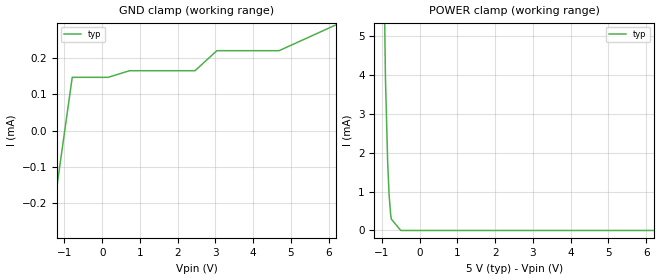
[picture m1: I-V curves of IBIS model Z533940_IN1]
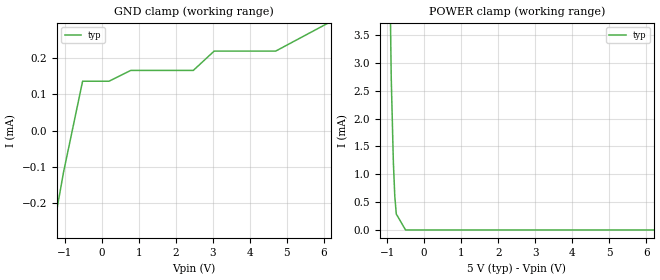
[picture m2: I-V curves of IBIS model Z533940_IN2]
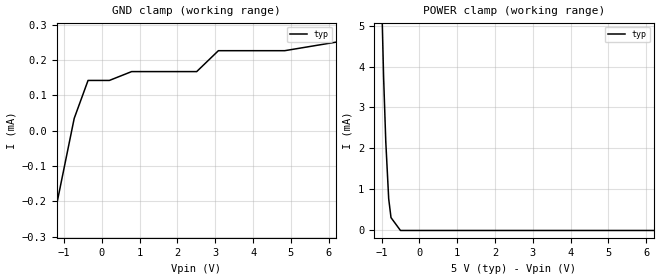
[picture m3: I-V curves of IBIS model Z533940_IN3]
| YOU ARE ONLY AUTHORIZED TO USE THIS SOFTWARE
| ACCORDING TO LICENSOR'S LICENSE RESTRICTIONS.
[IBIS Ver] 3.1
[File Name] mc14544bd.ibs
[File Rev] 2.0
[Source] Measured and created by ICX Technology
[Date] Friday 7/14/00 9:07:57 AM
[Copyright]
| (C) COPYRIGHT 1993-2000
| MENTOR GRAPHICS CORPORATION
| ICX STANDARD LIBRARY, ICX PROJECT MODELING,
| ICX CUSTOM MODELING, ICX VENDOR MODEL
| ALL RIGHTS RESERVED.
| THE FOLLOWING ARE TRADEMARKS OR SERVICE MARKS OF
| MENTOR GRAPHICS CORPORATION:ICX (R), ICX STANDARD
| LIBRARY(R), ICX PROJECT MODELING(R), ICX CUSTOM
| MODELING(R), qualityIBIS(TM), MODELVIEWER(TM),
| AND MODELEDITOR(TM)
| ALL COPIES OF SOFTWARE, INCLUDING BUT NOT LIMITED TO
| ANY MODIFICATIONS, ENHANCEMENTS OR DERIVATIVE WORKS,
| MUST CONTAIN ALL MENTOR GRAPHICS CORPORATION'S
| NOTICES AND LEGENDS, INCLUDING THOSE EMBEDDED IN
| SOFTWARE AND THOSE AFFIXED TO SOFTWARE MEDIUM
| AND CONTAINER, AS RECEIVED FROM MENTOR GRAPHICS
| CORPORATION.
|  ZAP Model Builder 2.7
[Component] MC14544BD
[Manufacturer] OnSemiconductor
[Package]
| variable   typ   min   max
R_pkg  .159ohms NA NA
L_pkg  3.465nH NA NA
C_pkg  .403pF NA NA
[Pin] signal_name  model_name  R_pin  L_pin C_pin
1 LD Z533940_IN1 .166 4.249n .439p
2 C Z533940_IN1 .162 3.799n .419p
3 B Z533940_IN1 .158 3.359n .399p
4 D Z533940_IN1 .154 2.929n .379p
5 A Z533940_IN1 .15 2.509n .359p
6 PHASE Z533940_IN2 .154 2.929n .379p
7 BI Z533940_IN3 .158 3.359n .399p
8 RB_OUT Z533940_OUT4 .162 3.799n .419p
9 VSS GND .166 4.249n .439p
10 RB_IN Z533940_IN5 .166 4.249n .439p
11 a Z533940_OUT6 .162 3.799n .419p
12 b Z533940_OUT6 .158 3.359n .399p
13 c Z533940_OUT6 .154 2.929n .379p
14 d Z533940_OUT6 .15 2.509n .359p
15 e Z533940_OUT6 .154 2.929n .379p
16 g Z533940_OUT6 .158 3.359n .399p
17 f Z533940_OUT6 .162 3.799n .419p
18 VDD POWER .166 4.249n .439p
| Models and submodels in the file (6): Z533940_IN1 (Input), Z533940_IN2 (Input), Z533940_IN3 (Input), Z533940_IN5 (Input), Z533940_OUT4 (Output), Z533940_OUT6 (Output)
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| (C) COPYRIGHT 1993-2000
| MENTOR GRAPHICS CORPORATION
| ICX STANDARD LIBRARY, ICX PROJECT MODELING,
| ICX CUSTOM MODELING, ICX VENDOR MODEL
| ALL RIGHTS RESERVED.
| THE FOLLOWING ARE TRADEMARKS OR SERVICE MARKS OF
| MENTOR GRAPHICS CORPORATION:ICX (R), ICX STANDARD
| LIBRARY(R), ICX PROJECT MODELING(R), ICX CUSTOM
| MODELING(R), qualityIBIS(TM), MODELVIEWER(TM),
| AND MODELEDITOR(TM)
| ALL COPIES OF SOFTWARE, INCLUDING BUT NOT LIMITED TO
| ANY MODIFICATIONS, ENHANCEMENTS OR DERIVATIVE WORKS,
| MUST CONTAIN ALL MENTOR GRAPHICS CORPORATION'S
| NOTICES AND LEGENDS, INCLUDING THOSE EMBEDDED IN
| SOFTWARE AND THOSE AFFIXED TO SOFTWARE MEDIUM
| AND CONTAINER, AS RECEIVED FROM MENTOR GRAPHICS
| CORPORATION.
| Model Application Version 1.89 2/18/99.
[Model] Z533940_IN1
Model_type Input
Vinl = 1.500V
Vinh = 3.500V
C_comp 4.000pF NA NA
| variable typ   min   max
[Voltage Range] 5.000V NA NA
[GND Clamp Reference] 0.000V NA NA
[POWER Clamp Reference] 5.000V NA NA
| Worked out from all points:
|   POWER clamp passes 1 mA (typ) near -0.81 V on its own axis
[GND Clamp]
-5V       -2.99mA    NA         NA
-794mV    147.4uA    NA         NA
156.7mV   147.4uA    NA         NA
723.6mV   165.7uA    NA         NA
2.459V    165.7uA    NA         NA
3.038V    221.2uA    NA         NA
4.686V    221.2uA    NA         NA
10V       473.7uA    NA         NA
[POWER Clamp]
-5V       744.6mA    NA         NA
-1.211V   38.83mA    NA         NA
-1.055V   16.56mA    NA         NA
-1.002V   10.82mA    NA         NA
-908mV    3.96mA     NA         NA
-850mV    1.795mA    NA         NA
-812mV    935.3uA    NA         NA
-771mV    427.3uA    NA         NA
-752mV    293.6uA    NA         NA
-501.3mV  0A         NA         NA
10V       0A         NA         NA
| (C) COPYRIGHT 1993-2000
| MENTOR GRAPHICS CORPORATION
| ICX STANDARD LIBRARY, ICX PROJECT MODELING,
| ICX CUSTOM MODELING, ICX VENDOR MODEL
| ALL RIGHTS RESERVED.
| THE FOLLOWING ARE TRADEMARKS OR SERVICE MARKS OF
| MENTOR GRAPHICS CORPORATION:ICX (R), ICX STANDARD
| LIBRARY(R), ICX PROJECT MODELING(R), ICX CUSTOM
| MODELING(R), qualityIBIS(TM), MODELVIEWER(TM),
| AND MODELEDITOR(TM)
| ALL COPIES OF SOFTWARE, INCLUDING BUT NOT LIMITED TO
| ANY MODIFICATIONS, ENHANCEMENTS OR DERIVATIVE WORKS,
| MUST CONTAIN ALL MENTOR GRAPHICS CORPORATION'S
| NOTICES AND LEGENDS, INCLUDING THOSE EMBEDDED IN
| SOFTWARE AND THOSE AFFIXED TO SOFTWARE MEDIUM
| AND CONTAINER, AS RECEIVED FROM MENTOR GRAPHICS
| CORPORATION.
| Model Application Version 1.89 2/18/99.
[Model] Z533940_IN2
Model_type Input
Vinl = 1.500V
Vinh = 3.500V
C_comp 4.000pF NA NA
| variable typ   min   max
[Voltage Range] 5.000V NA NA
[GND Clamp Reference] 0.000V NA NA
[POWER Clamp Reference] 5.000V NA NA
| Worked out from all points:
|   POWER clamp passes 1 mA (typ) near -0.82 V on its own axis
[GND Clamp]
-5V       -2.401mA   NA         NA
-1.028V   -115uA     NA         NA
-514mV    136.7uA    NA         NA
198.1mV   136.7uA    NA         NA
786.7mV   166.6uA    NA         NA
2.475V    166.6uA    NA         NA
3.038V    220.2uA    NA         NA
4.7V      220.2uA    NA         NA
10V       511uA      NA         NA
[POWER Clamp]
-5V       413.7mA    NA         NA
-1.188V   23.51mA    NA         NA
-1.005V   8.601mA    NA         NA
-889mV    2.745mA    NA         NA
-831mV    1.215mA    NA         NA
-792mV    600uA      NA         NA
-752mV    285.9uA    NA         NA
-501.3mV  0A         NA         NA
10V       0A         NA         NA
| (C) COPYRIGHT 1993-2000
| MENTOR GRAPHICS CORPORATION
| ICX STANDARD LIBRARY, ICX PROJECT MODELING,
| ICX CUSTOM MODELING, ICX VENDOR MODEL
| ALL RIGHTS RESERVED.
| THE FOLLOWING ARE TRADEMARKS OR SERVICE MARKS OF
| MENTOR GRAPHICS CORPORATION:ICX (R), ICX STANDARD
| LIBRARY(R), ICX PROJECT MODELING(R), ICX CUSTOM
| MODELING(R), qualityIBIS(TM), MODELVIEWER(TM),
| AND MODELEDITOR(TM)
| ALL COPIES OF SOFTWARE, INCLUDING BUT NOT LIMITED TO
| ANY MODIFICATIONS, ENHANCEMENTS OR DERIVATIVE WORKS,
| MUST CONTAIN ALL MENTOR GRAPHICS CORPORATION'S
| NOTICES AND LEGENDS, INCLUDING THOSE EMBEDDED IN
| SOFTWARE AND THOSE AFFIXED TO SOFTWARE MEDIUM
| AND CONTAINER, AS RECEIVED FROM MENTOR GRAPHICS
| CORPORATION.
| Model Application Version 1.89 2/18/99.
[Model] Z533940_IN3
Model_type Input
Vinl = 1.500V
Vinh = 3.500V
C_comp 4.000pF NA NA
| variable typ   min   max
[Voltage Range] 5.000V NA NA
[GND Clamp Reference] 0.000V NA NA
[POWER Clamp Reference] 5.000V NA NA
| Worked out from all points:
|   POWER clamp passes 1 mA (typ) near -0.82 V on its own axis
[GND Clamp]
-5V       -2.207mA   NA         NA
-732.3mV  34.39uA    NA         NA
-366.1mV  141.8uA    NA         NA
198mV     141.8uA    NA         NA
786.6mV   166.8uA    NA         NA
2.508V    166.8uA    NA         NA
3.082V    226uA      NA         NA
4.836V    226uA      NA         NA
10V       317.9uA    NA         NA
[POWER Clamp]
-5V       264.1mA    NA         NA
-1.216V   16.13mA    NA         NA
-1.045V   7.438mA    NA         NA
-947mV    3.751mA    NA         NA
-889mV    2.165mA    NA         NA
-812mV    772.6uA    NA         NA
-751mV    313.9uA    NA         NA
-500.7mV  0A         NA         NA
10V       0A         NA         NA
